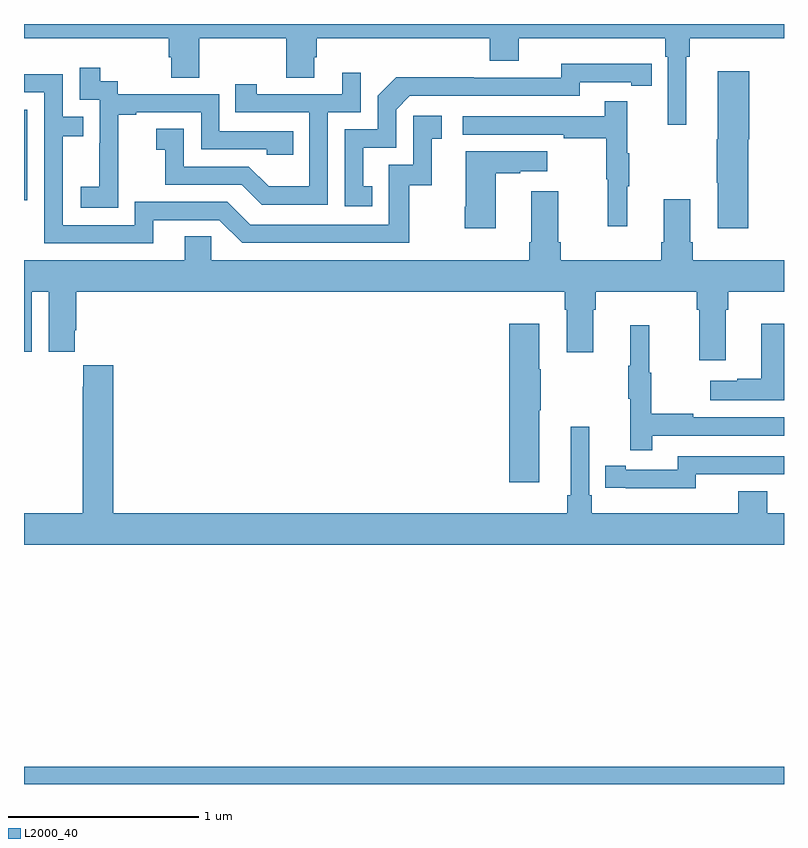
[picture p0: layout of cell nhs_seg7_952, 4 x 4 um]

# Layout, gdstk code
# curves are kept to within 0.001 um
import gdstk
lib = gdstk.Library(unit=1e-6, precision=1e-09)
def R(c, l, rs):  # rectangles x0, y0, x1, y1
    for r in rs: c.add(gdstk.rectangle(r[:2], r[2:], *l))
def P(c, l, *ps):  # polygons
    for p in ps: c.add(gdstk.Polygon(p, *l))
L2000_40 = (2000, 40)

nhs_seg7_952 = lib.new_cell('nhs_seg7_952')
R(nhs_seg7_952, L2000_40, [(181,1022,185,1022.092), (181,1025.073,181.017,1025.55)])
P(nhs_seg7_952, L2000_40, [(181,1025.924),(181.763,1025.924),(181.763,1025.826),(181.775,1025.826),(181.775,1025.716),(181.923,1025.716),(181.923,1025.924),(182.38,1025.924),(182.38,1025.716),(182.527,1025.716),(182.527,1025.826),(182.54,1025.826),(182.54,1025.924),(183.452,1025.924),(183.452,1025.807),(183.604,1025.807),(183.604,1025.924),(184.376,1025.924),(184.376,1025.828),(184.389,1025.828),(184.389,1025.469),(184.486,1025.469),(184.486,1025.828),(184.505,1025.828),(184.505,1025.924),(185,1025.924),(185,1026),(181,1026)],
  [(182.834,1025.145),(182.785,1025.145),(182.785,1025.349),(182.958,1025.349),(182.958,1025.55),(183.03,1025.622),(183.924,1025.622),(183.924,1025.694),(184.196,1025.694),(184.196,1025.674),(184.304,1025.674),(184.304,1025.79),(183.828,1025.791),(183.828,1025.718),(183.368,1025.718),(183.368,1025.72),(182.96,1025.72),(182.862,1025.622),(182.862,1025.445),(182.688,1025.445),(182.688,1025.04),(182.834,1025.04)],
  [(181.497,1025.239),(181.496,1025.239),(181.496,1025.523),(181.591,1025.523),(181.591,1025.535),(181.932,1025.535),(181.932,1025.34),(182.277,1025.34),(182.277,1025.313),(182.417,1025.313),(182.417,1025.436),(182.028,1025.436),(182.028,1025.631),(181.494,1025.631),(181.494,1025.7),(181.402,1025.7),(181.402,1025.77),(181.293,1025.77),(181.293,1025.601),(181.398,1025.601),(181.398,1025.372),(181.397,1025.372),(181.397,1025.143),(181.299,1025.143),(181.299,1025.033),(181.497,1025.033)],
  [(184.811,1025.394),(184.816,1025.394),(184.816,1025.752),(184.652,1025.752),(184.652,1025.394),(184.645,1025.394),(184.645,1025.164),(184.652,1025.164),(184.652,1024.926),(184.811,1024.926)],
  [(182.598,1025.535),(182.772,1025.535),(182.772,1025.743),(182.675,1025.743),(182.675,1025.631),(182.224,1025.631),(182.224,1025.683),(182.113,1025.683),(182.113,1025.535),(182.502,1025.535),(182.502,1025.146),(182.288,1025.146),(182.184,1025.25),(181.842,1025.25),(181.842,1025.449),(181.695,1025.449),(181.695,1025.339),(181.744,1025.339),(181.744,1025.154),(182.147,1025.154),(182.252,1025.049),(182.598,1025.049)],
  [(181.681,1024.968),(182.028,1024.968),(182.148,1024.848),(183.028,1024.848),(183.028,1025.151),(183.146,1025.151),(183.146,1025.397),(183.199,1025.397),(183.199,1025.518),(183.048,1025.518),(183.048,1025.259),(182.919,1025.259),(182.919,1024.944),(182.19,1024.944),(182.07,1025.064),(181.584,1025.064),(181.584,1024.941),(181.203,1024.941),(181.203,1025.41),(181.313,1025.41),(181.313,1025.511),(181.203,1025.511),(181.203,1025.736),(181,1025.736),(181,1025.64),(181.107,1025.64),(181.107,1024.845),(181.681,1024.845)],
  [(184.175,1025.147),(184.186,1025.147),(184.186,1025.321),(184.175,1025.321),(184.175,1025.593),(184.057,1025.593),(184.057,1025.514),(183.309,1025.514),(183.309,1025.418),(183.841,1025.418),(183.841,1025.398),(184.065,1025.398),(184.065,1025.184),(184.072,1025.184),(184.072,1024.935),(184.175,1024.935)],
  [(183.484,1025.215),(183.611,1025.215),(183.611,1025.225),(183.754,1025.225),(183.754,1025.329),(183.326,1025.329),(183.326,1025.038),(183.319,1025.038),(183.319,1024.926),(183.484,1024.926)],
  [(181,1024.275),(181.042,1024.275),(181.042,1024.592),(181.13,1024.592),(181.13,1024.275),(181.267,1024.275),(181.267,1024.387),(181.274,1024.387),(181.274,1024.592),(183.845,1024.592),(183.845,1024.496),(183.857,1024.496),(183.857,1024.272),(183.997,1024.272),(183.997,1024.496),(184.01,1024.496),(184.01,1024.592),(184.541,1024.592),(184.541,1024.496),(184.553,1024.496),(184.553,1024.23),(184.693,1024.23),(184.693,1024.496),(184.706,1024.496),(184.706,1024.592),(185,1024.592),(185,1024.756),(184.52,1024.756),(184.52,1024.852),(184.507,1024.852),(184.507,1025.077),(184.367,1025.077),(184.367,1024.852),(184.355,1024.852),(184.355,1024.756),(183.824,1024.756),(183.824,1024.852),(183.811,1024.852),(183.811,1025.119),(183.671,1025.119),(183.671,1024.852),(183.659,1024.852),(183.659,1024.756),(181.986,1024.756),(181.986,1024.883),(181.847,1024.883),(181.847,1024.756),(181,1024.756)],
  [(183.712,1023.967),(183.72,1023.967),(183.72,1024.184),(183.712,1024.184),(183.712,1024.423),(183.554,1024.423),(183.554,1023.588),(183.712,1023.588)],
  [(185,1024.423),(184.88,1024.423),(184.88,1024.133),(184.754,1024.133),(184.754,1024.123),(184.611,1024.123),(184.611,1024.019),(185,1024.019)],
  [(184.307,1023.834),(185,1023.834),(185,1023.93),(184.523,1023.93),(184.523,1023.95),(184.3,1023.95),(184.3,1024.164),(184.292,1024.164),(184.292,1024.414),(184.19,1024.414),(184.19,1024.201),(184.179,1024.201),(184.179,1024.027),(184.19,1024.027),(184.19,1023.756),(184.307,1023.756)],
  [(185,1023.424),(184.913,1023.424),(184.913,1023.541),(184.76,1023.541),(184.76,1023.424),(183.989,1023.424),(183.989,1023.52),(183.975,1023.52),(183.975,1023.88),(183.878,1023.88),(183.878,1023.52),(183.859,1023.52),(183.859,1023.424),(181.469,1023.424),(181.469,1024.204),(181.313,1024.204),(181.313,1024.091),(181.309,1024.091),(181.309,1023.424),(181,1023.424),(181,1023.26),(185,1023.26)],
  [(184.536,1023.63),(184.996,1023.63),(184.996,1023.629),(185,1023.629),(185,1023.726),(184.44,1023.726),(184.44,1023.654),(184.168,1023.654),(184.168,1023.674),(184.06,1023.674),(184.06,1023.558),(184.168,1023.558),(184.168,1023.557),(184.536,1023.557)])

lib.write_gds('nhs_seg7_952.gds')
